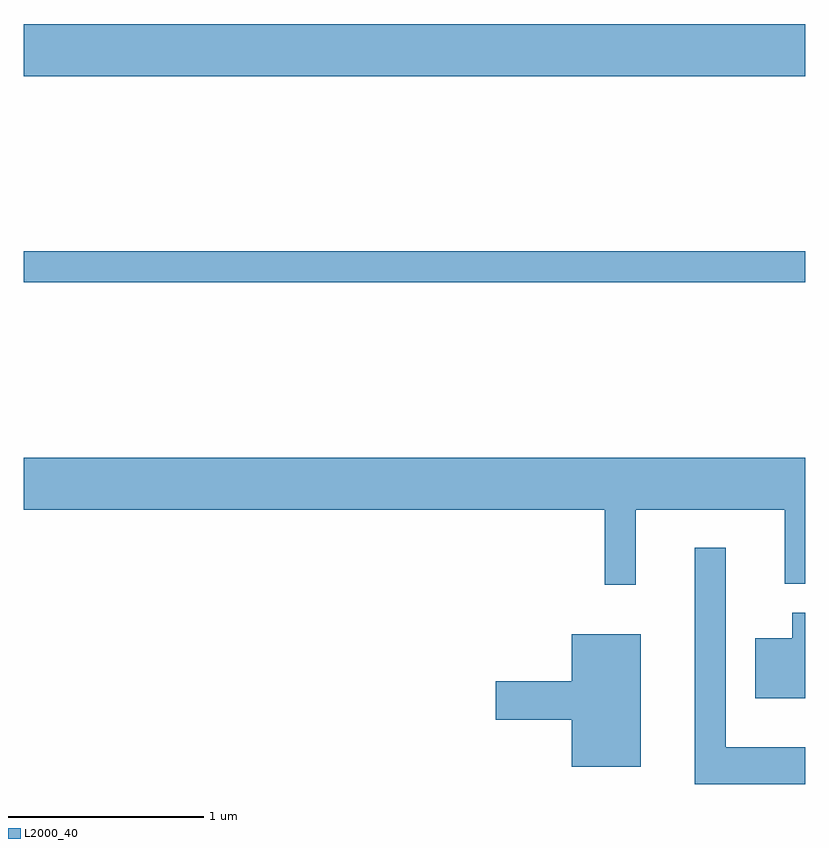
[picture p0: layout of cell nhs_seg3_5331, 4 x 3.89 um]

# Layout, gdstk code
import gdstk
lib = gdstk.Library(unit=1e-6, precision=1e-09)
def R(c, l, rs):  # rectangles x0, y0, x1, y1
    for r in rs: c.add(gdstk.rectangle(r[:2], r[2:], *l))
def P(c, l, *ps):  # polygons
    for p in ps: c.add(gdstk.Polygon(p, *l))
L2000_40 = (2000, 40)

nhs_seg3_5331 = lib.new_cell('nhs_seg3_5331')
R(nhs_seg3_5331, L2000_40, [(341.611,1180.461,345.611,1180.619), (341.611,1181.516,345.611,1181.784)])
P(nhs_seg3_5331, L2000_40, [(344.744,1179.296),(345.506,1179.296),(345.506,1178.918),(345.611,1178.918),(345.611,1179.564),(341.611,1179.564),(341.611,1179.296),(344.586,1179.296),(344.586,1178.913),(344.744,1178.913)],
  [(345.611,1178.079),(345.204,1178.079),(345.204,1179.103),(345.046,1179.103),(345.046,1177.892),(345.611,1177.892)],
  [(345.611,1178.769),(345.546,1178.769),(345.546,1178.639),(345.356,1178.639),(345.356,1178.331),(345.611,1178.331)],
  [(344.769,1178.659),(344.416,1178.659),(344.416,1178.419),(344.026,1178.419),(344.026,1178.221),(344.416,1178.221),(344.416,1177.981),(344.769,1177.981)])

lib.write_gds('nhs_seg3_5331.gds')
